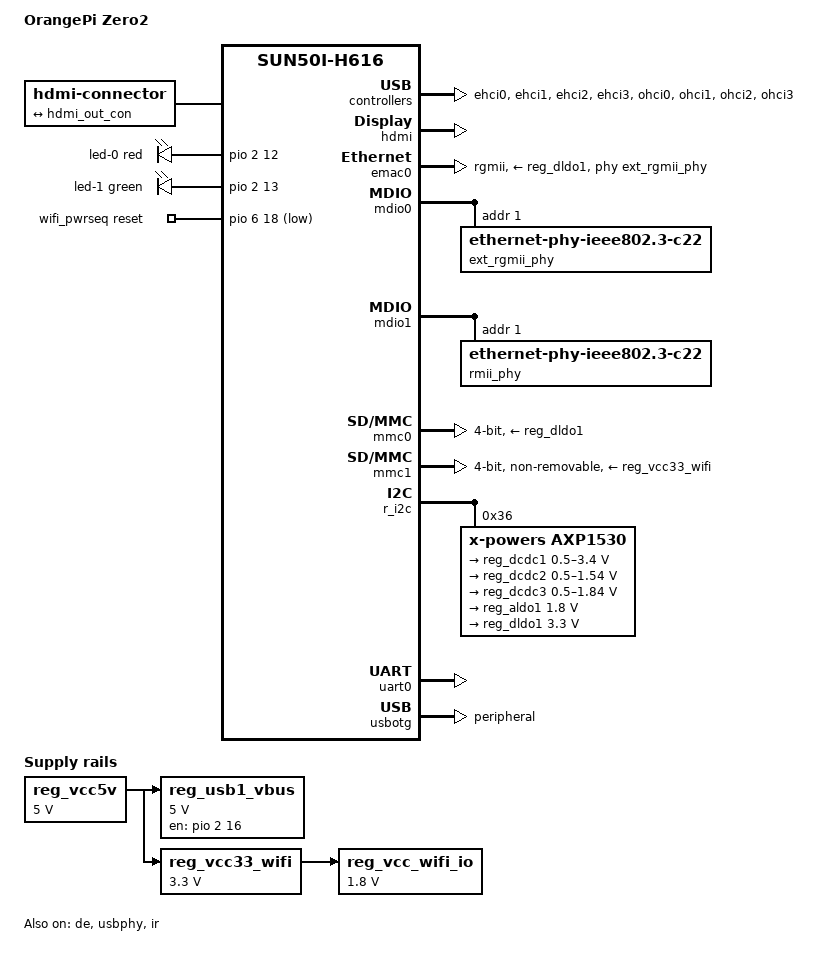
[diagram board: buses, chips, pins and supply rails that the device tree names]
// SPDX-License-Identifier: (GPL-2.0+ or MIT)
/*
 * Copyright (C) 2020 Arm Ltd.
 */

/dts-v1/;

#include "sun50i-h616.dtsi"

#include <dt-bindings/gpio/gpio.h>
#include <dt-bindings/interrupt-controller/arm-gic.h>
#include <dt-bindings/leds/common.h>
#include "sun50i-h616-cpu-opp.dtsi"

/ {
	model = "OrangePi Zero2";
	compatible = "xunlong,orangepi-zero2", "allwinner,sun50i-h616";

	aliases {
		ethernet0 = &emac0;
		serial0 = &uart0;
	};

	chosen {
		stdout-path = "serial0:115200n8";
	};

	connector {
		compatible = "hdmi-connector";
		type = "d";

		port {
			hdmi_con_in: endpoint {
				remote-endpoint = <&hdmi_out_con>;
			};
		};
	};

	leds {
		compatible = "gpio-leds";

		led-0 {
			function = LED_FUNCTION_POWER;
			color = <LED_COLOR_ID_RED>;
			gpios = <&pio 2 12 GPIO_ACTIVE_HIGH>; /* PC12 */
		};

		led-1 {
			function = LED_FUNCTION_STATUS;
			color = <LED_COLOR_ID_GREEN>;
			gpios = <&pio 2 13 GPIO_ACTIVE_HIGH>; /* PC13 */
			default-state = "on";
		};
	};

	reg_vcc5v: vcc5v {
		/* board wide 5V supply directly from the USB-C socket */
		compatible = "regulator-fixed";
		regulator-name = "vcc-5v";
		regulator-min-microvolt = <5000000>;
		regulator-max-microvolt = <5000000>;
		regulator-always-on;
	};

	reg_usb1_vbus: usb1-vbus {
		compatible = "regulator-fixed";
		regulator-name = "usb1-vbus";
		regulator-min-microvolt = <5000000>;
		regulator-max-microvolt = <5000000>;
		vin-supply = <&reg_vcc5v>;
		enable-active-high;
		gpio = <&pio 2 16 GPIO_ACTIVE_HIGH>; /* PC16 */
		status = "okay";
	};

	reg_vcc33_wifi: vcc33-wifi {
		/* Always on 3.3V regulator for WiFi and BT */
		compatible = "regulator-fixed";
		regulator-name = "vcc33-wifi";
		regulator-min-microvolt = <3300000>;
		regulator-max-microvolt = <3300000>;
		regulator-always-on;
		vin-supply = <&reg_vcc5v>;
	};

	reg_vcc_wifi_io: vcc-wifi-io {
		/* Always on 1.8V/300mA regulator for WiFi and BT IO */
		compatible = "regulator-fixed";
		regulator-name = "vcc-wifi-io";
		regulator-min-microvolt = <1800000>;
		regulator-max-microvolt = <1800000>;
		regulator-always-on;
		vin-supply = <&reg_vcc33_wifi>;
	};

	wifi_pwrseq: wifi-pwrseq {
		compatible = "mmc-pwrseq-simple";
		clocks = <&rtc 1>;
		clock-names = "osc32k-out";
		reset-gpios = <&pio 6 18 GPIO_ACTIVE_LOW>; /* PG18 */
		post-power-on-delay-ms = <200>;
	};
};

&de {
	status = "okay";
};

&ehci0 {
	status = "okay";
};

&ehci1 {
	status = "okay";
};

&ehci2 {
	status = "okay";
};

&ehci3 {
	status = "okay";
};

&gpu {
    mali-supply = <&reg_dcdc3>;
    status = "disabled";
};

&hdmi {
	hvcc-supply = <&reg_aldo1>;
	status = "okay";
};

&hdmi_out {
	hdmi_out_con: endpoint {
		remote-endpoint = <&hdmi_con_in>;
	};
};

/* USB 2 & 3 are on headers only. */

&emac0 {
	pinctrl-names = "default";
	pinctrl-0 = <&ext_rgmii_pins>;
	phy-mode = "rgmii";
	phy-handle = <&ext_rgmii_phy>;
    phy-supply = <&reg_dldo1>;
	allwinner,rx-delay-ps = <3100>;
	allwinner,tx-delay-ps = <700>;
	status = "okay";
};

&mdio0 {
	ext_rgmii_phy: ethernet-phy@1 {
		compatible = "ethernet-phy-ieee802.3-c22";
		reg = <1>;
	};
};

&emac1 {
	pinctrl-names = "default";
	pinctrl-0 = <&rmii_pins>;
	phy-mode = "rmii";
	phy-handle = <&rmii_phy>;
	phy-supply = <&reg_dldo1>;
	allwinner,rx-delay-ps = <3100>;
	allwinner,tx-delay-ps = <700>;
	status = "disabled";
};

&mdio1 {
	rmii_phy: ethernet-phy@1 {
		compatible = "ethernet-phy-ieee802.3-c22";
		reg = <1>;
	};
};

&mmc0 {
    vmmc-supply = <&reg_dldo1>;

	// cd-gpios = <&pio 5 6 GPIO_ACTIVE_LOW>;	/* PF6 */
    no-1-8-v;
	bus-width = <4>;
	status = "okay";
};

&mmc1 {
	vmmc-supply = <&reg_vcc33_wifi>;
	vqmmc-supply = <&reg_vcc_wifi_io>;
	mmc-pwrseq = <&wifi_pwrseq>;
	bus-width = <4>;
	non-removable;
	mmc-ddr-1_8v;
	status = "okay";
};

&ohci0 {
	status = "okay";
};

&ohci1 {
	status = "okay";
};

&ohci2 {
	status = "okay";
};

&ohci3 {
	status = "okay";
};

&r_i2c {
	status = "okay";

    axp1530: pmic@36 {
		compatible = "x-powers,axp1530";
        status = "okay";
		reg = <0x36>;
		// reg = <0x745>;
		// interrupt-parent = <&nmi_intc>;
		// interrupts = <0 IRQ_TYPE_LEVEL_LOW>;
		// interrupt-controller;
		// #interrupt-cells = <1>;

		wakeup-source;

		standby_param: standby_param {
			vcc-dram = <0x4>;
		};

		regulators{
			reg_dcdc1: dcdc1 {
				regulator-name = "axp1530-dcdc1";
				regulator-min-microvolt = <500000>;
				regulator-max-microvolt = <3400000>;
				regulator-step-delay-us = <25>;
				regulator-final-delay-us = <50>;
				regulator-always-on;
			};

			reg_dcdc2: dcdc2 {
				regulator-name = "axp1530-dcdc2";
				regulator-min-microvolt = <500000>;
				regulator-max-microvolt = <1540000>;
				regulator-step-delay-us = <25>;
				regulator-final-delay-us = <50>;
				regulator-ramp-delay = <200>; // FIXME
				regulator-always-on;
			};

			reg_dcdc3: dcdc3 {
				regulator-name = "axp1530-dcdc3";
				regulator-min-microvolt = <500000>;
				regulator-max-microvolt = <1840000>;
				regulator-step-delay-us = <25>;
				regulator-final-delay-us = <50>;
				regulator-always-on;
			};

			reg_aldo1: ldo1 {
				regulator-name = "axp1530-aldo1";
				regulator-min-microvolt = <1800000>;
				regulator-max-microvolt = <1800000>;
				regulator-step-delay-us = <25>;
				regulator-final-delay-us = <50>;
				regulator-always-on;
			};

			reg_dldo1: ldo2 {
				regulator-name = "axp1530-dldo1";
				regulator-min-microvolt = <3300000>;
				regulator-max-microvolt = <3300000>;
				regulator-step-delay-us = <25>;
				regulator-final-delay-us = <50>;
				regulator-always-on;
			};
		};
	};
};

&cpu0 {
    cpu-supply = <&reg_dcdc2>;
};

&spi0  {
	status = "disabled";

	flash@0 {
		#address-cells = <1>;
		#size-cells = <1>;
		compatible = "jedec,spi-nor";
		reg = <0>;
		spi-max-frequency = <40000000>;
	};
};

&spi1 {
	#address-cells = <1>;
	#size-cells = <0>;
	status = "disabled";

	spidev@1 {
		compatible = "rohm,dh2228fv";
		status = "disabled";
		reg = <1>;
		spi-max-frequency = <1000000>;
	};
};

&uart0 {
	pinctrl-names = "default";
	pinctrl-0 = <&uart0_ph_pins>;
	status = "okay";
};

&usbotg {
	/*
	 * PHY0 pins are connected to a USB-C socket, but a role switch
	 * is not implemented: both CC pins are pulled to GND.
	 * The VBUS pins power the device, so a fixed peripheral mode
	 * is the best choice.
	 * The board can be powered via GPIOs, in this case port0 *can*
	 * act as a host (with a cable/adapter ignoring CC), as VBUS is
	 * then provided by the GPIOs. Any user of this setup would
	 * need to adjust the DT accordingly: dr_mode set to "host",
	 * enabling OHCI0 and EHCI0.
	 */
	dr_mode = "peripheral";
	status = "okay";
};

&usbphy {
	usb1_vbus-supply = <&reg_usb1_vbus>;
	status = "okay";
};

&i2c1 {
	status = "disabled";
};

&i2c2 {
	status = "disabled";
};

&i2c3 {
	status = "disabled";
};

&i2c4 {
	status = "disabled";
};

&ir {
	pinctrl-names = "default";
	pinctrl-0 = <&ir_rx_pin>;
	status = "okay";
};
